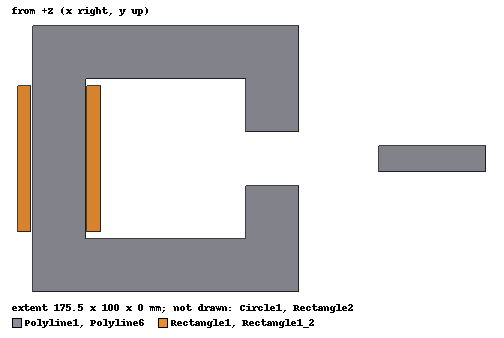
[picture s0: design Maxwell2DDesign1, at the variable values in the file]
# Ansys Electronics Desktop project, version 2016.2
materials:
  vacuum: permittivity=1
  copper: permeability=0.999991 conductivity=58000000
  iron: permeability=4000 conductivity=10300000
  ferrite: permittivity=12 permeability=1000 conductivity=0.01

design Maxwell2DDesign1 (Maxwell 2D, Transient, XY geometry, model units mm)
options: ModelDepth=1meter Multiplier=1
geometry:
  Polyline1 [ferrite] = polyline(z=0mm, xy in mm: (100, 300) (100, 200) (200, 200) (200, 240) (180, 240) (180, 220) (120, 220) (120, 280) (180, 280) (180, 260) (200, 260) (200, 280) (200, 300) (100, 300), closed, covered)
  Polyline6 [ferrite] = polyline(z=0mm, xy in mm: (230, 255) (270, 255) (270, 245) (230, 245) (230, 255), closed, covered)
  Rectangle1 [copper] = rectangle(corner=(120.5mm, 277.5mm, 0mm), x_size=5mm, y_size=-55mm)
  Rectangle1_2 [copper] = Rectangle1.duplicate_mirror(point=(110mm, 250mm, 0mm), normal=(-1mm, 0mm, 0mm))
  Circle1 [vacuum] = circle(normal=Z, centre=(150mm, 250mm, 0mm), radius=245.15301mm)
  Polyline6.move(-10mm, 0mm, 0mm)
  Polyline6.move(-10mm, 0mm, 0mm)
  Polyline6.move(-10mm, 0mm, 0mm)
  Polyline6.move(-10mm, 0mm, 0mm)
  Polyline6.move(10mm, 0mm, 0mm)
  Polyline6.move(-10mm, 0mm, 0mm)
  Polyline6.move(-10mm, 0mm, 0mm)
  Polyline6.move(-10mm, 0mm, 0mm)
  Polyline6.move(-10mm, 0mm, 0mm)
  Polyline6.move(-10mm, 0mm, 0mm)
  Polyline6.move(-10mm, 0mm, 0mm)
  Polyline6.move(90mm, 0mm, 0mm)
  Rectangle2 [vacuum] = rectangle(corner=(274mm, 258mm, 0mm), x_size=-144mm, y_size=-16mm)
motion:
  MotionSetup1: Band Move_Type=Translate Coordinate_System=Global PostProcessing_Coordinate_System=Global Axis=X Is_Positive=true InitPos=-0.1mm NegativePos=-90.1mm PositivePos=0mm Velocity=0.01m_per_sec Mass=1.84kg Damping=0 Load_Force=0newton Objects=Rectangle2
  Moving1: Moving Objects=Polyline6
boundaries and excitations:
  Balloon2: Balloon Edges=Circle1.edge(1 of 1)
  Current1: Current Objects=Rectangle1_2 Current=8500A IsSolid=true IsPositive=true
  Current2: Current Objects=Rectangle1 Current=8500A IsSolid=true IsPositive=true
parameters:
  Force1: Force Reference_CS=Global Objects=Polyline6
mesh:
  initial mesh: MeshMethod=AnsoftClassic
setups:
  Setup1: Transient NonlinearSolverResidual=0.0001 StopTime=10s TimeStep=0.01s NumberOfTimeSubDivisions=1 SweepSetupType=LinearStep StartValue=0 StopValue=2s StepSize=0.001s InitialTimeStep=0.002s MinTimeStep=0.001s MaxTimeStep=0.003s TimeStepErrTolerance=0.0001
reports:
  XY Plot 1: Force1.Force_mag vs Time on Setup1 : Transient
